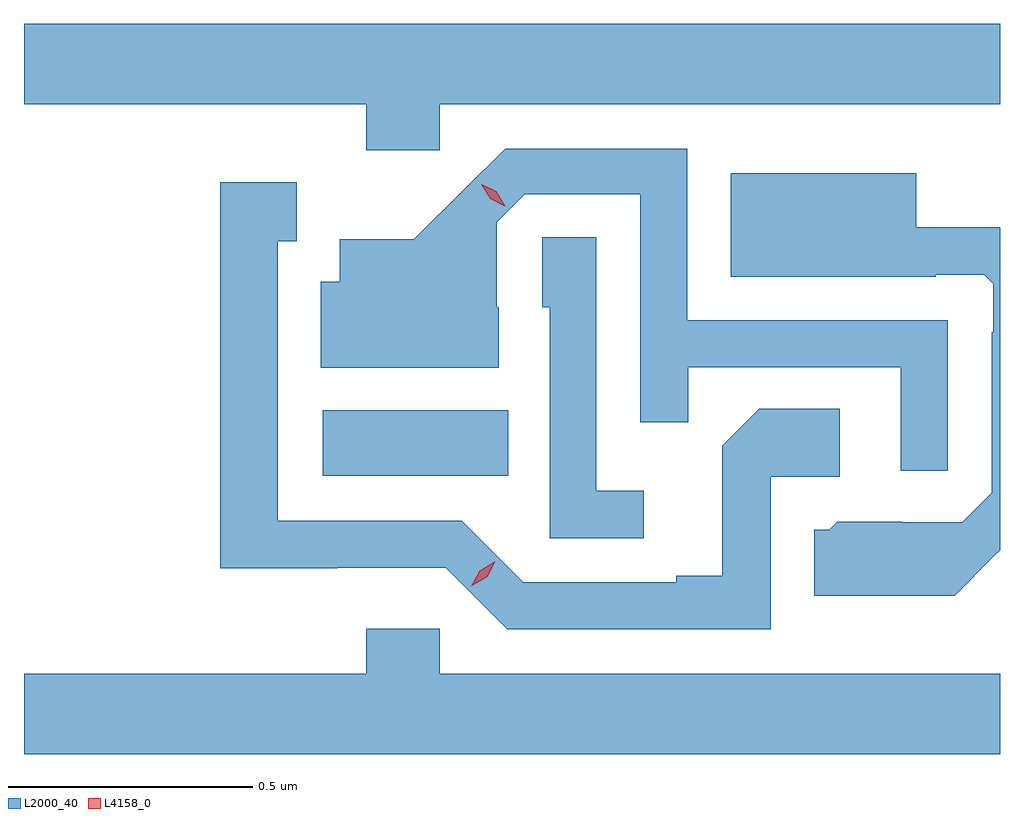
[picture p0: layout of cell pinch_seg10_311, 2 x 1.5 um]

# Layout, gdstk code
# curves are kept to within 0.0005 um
import gdstk
lib = gdstk.Library(unit=1e-6, precision=1e-09)
def R(c, l, rs):  # rectangles x0, y0, x1, y1
    for r in rs: c.add(gdstk.rectangle(r[:2], r[2:], *l))
def P(c, l, *ps):  # polygons
    for p in ps: c.add(gdstk.Polygon(p, *l))
L2000_40 = (2000, 40)
L4158_0 = (4158, 0)

pinch_seg10_311 = lib.new_cell('pinch_seg10_311')
R(pinch_seg10_311, L2000_40, [(486.36,1304.882,486.74,1305.016)])
P(pinch_seg10_311, L2000_40, [(486.6,1305.644),(487.748,1305.644),(487.748,1305.808),(485.748,1305.808),(485.748,1305.644),(486.449,1305.644),(486.449,1305.549),(486.6,1305.549)],
  [(487.641,1305.201),(487.107,1305.201),(487.107,1305.552),(486.734,1305.552),(486.547,1305.367),(486.395,1305.367),(486.395,1305.28),(486.356,1305.28),(486.356,1305.104),(486.721,1305.104),(486.721,1305.228),(486.717,1305.228),(486.717,1305.402),(486.774,1305.459),(487.011,1305.459),(487.011,1304.992),(487.109,1304.992),(487.109,1305.105),(487.545,1305.105),(487.545,1304.892),(487.641,1304.892)],
  [(487.735,1304.717),(487.748,1304.73),(487.748,1305.391),(487.576,1305.391),(487.576,1305.502),(487.196,1305.502),(487.196,1305.29),(487.616,1305.29),(487.616,1305.294),(487.716,1305.294),(487.734,1305.276),(487.734,1305.176),(487.731,1305.176),(487.731,1304.847),(487.671,1304.787),(487.548,1304.787),(487.548,1304.788),(487.414,1304.788),(487.398,1304.772),(487.367,1304.772),(487.367,1304.636),(487.655,1304.636)],
  [(487.278,1304.88),(487.42,1304.88),(487.42,1305.02),(487.255,1305.02),(487.179,1304.944),(487.179,1304.677),(487.085,1304.677),(487.085,1304.664),(486.771,1304.664),(486.645,1304.79),(486.268,1304.79),(486.268,1305.363),(486.307,1305.363),(486.307,1305.484),(486.15,1305.484),(486.15,1304.693),(486.39,1304.693),(486.39,1304.694),(486.612,1304.694),(486.738,1304.568),(487.278,1304.568)],
  [(487.018,1304.851),(486.921,1304.851),(486.921,1305.371),(486.81,1305.371),(486.81,1305.228),(486.825,1305.228),(486.825,1304.754),(487.018,1304.754)],
  [(487.748,1304.476),(486.6,1304.476),(486.6,1304.569),(486.449,1304.569),(486.449,1304.476),(485.748,1304.476),(485.748,1304.312),(487.748,1304.312)])
P(pinch_seg10_311, L4158_0, [(486.733,1305.435),(486.703,1305.45),(486.685,1305.48),(486.685,1305.48),(486.686,1305.48),(486.716,1305.465),(486.734,1305.435),(486.734,1305.435)],
  [(486.664,1304.656),(486.664,1304.656),(486.682,1304.688),(486.714,1304.707),(486.714,1304.707),(486.714,1304.707),(486.697,1304.675),(486.665,1304.656)])

lib.write_gds('pinch_seg10_311.gds')
